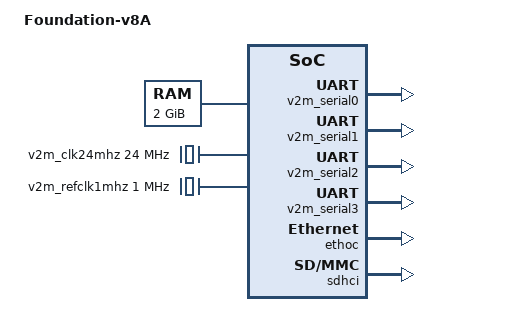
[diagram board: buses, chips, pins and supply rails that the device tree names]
/******************************************************************************
 *                                                                            *
 * Copyright 2020 Lukas Jünger                                                *
 *                                                                            *
 * Licensed under the Apache License, Version 2.0 (the "License");            *
 * you may not use this file except in compliance with the License.           *
 * You may obtain a copy of the License at                                    *
 *                                                                            *
 *     http://www.apache.org/licenses/LICENSE-2.0                             *
 *                                                                            *
 * Unless required by applicable law or agreed to in writing, software        *
 * distributed under the License is distributed on an "AS IS" BASIS,          *
 * WITHOUT WARRANTIES OR CONDITIONS OF ANY KIND, either express or implied.   *
 * See the License for the specific language governing permissions and        *
 * limitations under the License.                                             *
 *                                                                            *
 ******************************************************************************/

/dts-v1/;

/ {
	model = "Foundation-v8A";
	compatible = "arm,foundation-aarch64", "arm,vexpress";
	interrupt-parent = <&gic>;
	#address-cells = <1>;
	#size-cells = <1>;

	aliases {
		serial0 = &v2m_serial0;
		serial1 = &v2m_serial1;
		serial2 = &v2m_serial2;
		serial3 = &v2m_serial3;
	};

	cpus {
		#address-cells = <2>;
		#size-cells = <0>;

		cpu0: cpu@0 {
			device_type = "cpu";
			compatible = "arm,armv8";
			reg = <0x0 0x0>;
		};

		cpu1: cpu@1 {
			device_type = "cpu";
			compatible = "arm,armv8";
			enable-method = "spin-table";
			cpu-release-addr = <0x0 0x00000090>;
			reg = <0x0 0x1>;
		};
	};

	chosen {
		#address-cells = <1>;
		#size-cells = <1>;
		xen,xen-bootargs = "dtuart=serial0 console=dtuart dom0_mem=512M loglvl=none guest_loglvl=none";
		xen,dom0-bootargs = "earlycon=xenboot console=hvc0 earlyprintk=xen debug loglevel=8 root=/dev/mmcblk0p2 rootwait";
		module@0x7f600000 {
			compatible = "multiboot,kernel", "multiboot,module";
			reg = <0x7f600000 $LINUX_IMAGE_SIZE>;
		};
	};

	memory@100 {
		device_type= "memory";
		reg = <0x00000100 0x7FFFFF00>;
	};

timer {
		compatible = "arm,armv8-timer", "arm,armv7-timer";
		interrupts = <1 13 0xFF04>, /*secure*/
			         <1 14 0xFF04>, /*non-secure*/
			         <1 11 0xFF04>, /*virtual*/
			         <1 10 0xFF04>; /*hypervisor*/
		clock-frequency = <1000000000>;
	};

amba {
		#address-cells = <0x1>;
		#size-cells = <0x1>;
		compatible = "arm,amba-bus", "simple-bus";
		ranges;

		v2m_serial0: uart@90009000 {
			compatible = "arm,pl011", "arm,primecell";
			reg = <0x90009000 0x1000>;
			interrupts = <0 5 4>;
			clocks = <&v2m_clk24mhz>, <&v2m_clk24mhz>;
			clock-names = "uartclk", "apb_pclk";
		};

		v2m_serial1: uart@9000a000 {
			compatible = "arm,pl011", "arm,primecell";
			reg = <0x9000a000 0x1000>;
			interrupts = <0 6 4>;
			clocks = <&v2m_clk24mhz>, <&v2m_clk24mhz>;
			clock-names = "uartclk", "apb_pclk";
		};

		v2m_serial2: uart@9000b000 {
			compatible = "arm,pl011", "arm,primecell";
			reg = <0x9000b000 0x1000>;
			interrupts = <0 7 4>;
			clocks = <&v2m_clk24mhz>, <&v2m_clk24mhz>;
			clock-names = "uartclk", "apb_pclk";
		};

		v2m_serial3: uart@9000c000 {
			compatible = "arm,pl011", "arm,primecell";
			reg = <0x9000c000 0x1000>;
			interrupts = <0 8 4>;
			clocks = <&v2m_clk24mhz>, <&v2m_clk24mhz>;
			clock-names = "uartclk", "apb_pclk";
		};

		gic: interrupt-controller@90140000 {
			compatible = "arm,cortex-a15-gic";
			#interrupt-cells = <3>;
			#address-cells = <0>;
			interrupt-controller;
			reg = <0x90140000 0x1000>, /*GIC distributor*/
			      <0x90141000 0x2000>, /*GIC cpu interface*/
			      <0x90143000 0x2000>, /*GIC virtual interface control*/
			      <0x90145000 0x2000>; /*GIC virtual cpu interface*/
			interrupts = <1 9 0xf04>;
		};

		ethoc: ethernet@90004000 {
			compatible = "opencores,ethoc";
			reg = <0x90004000 0x2000>;
			interrupts = <0 9 4>;
		};

		sdhci: mmc@9000d000 {
			compatible = "fujitsu,mb86s70-sdhci-3.0";
			reg = <0x9000d000 0x1000>;
			interrupts = <0 10 4>;
			clocks = <&v2m_clk24mhz>, <&v2m_clk24mhz>;
			clock-names = "iface", "core";
		};

	};

	v2m_clk24mhz: clk24mhz {
		compatible = "fixed-clock";
		#clock-cells = <0>;
		clock-frequency = <24000000>;
		clock-output-names = "v2m:clk24mhz", "iface", "core";
	};

	v2m_refclk1mhz: refclk1mhz {
		compatible = "fixed-clock";
		#clock-cells = <0>;
		clock-frequency = <1000000>;
		clock-output-names = "v2m:refclk1mhz";
	};

};
